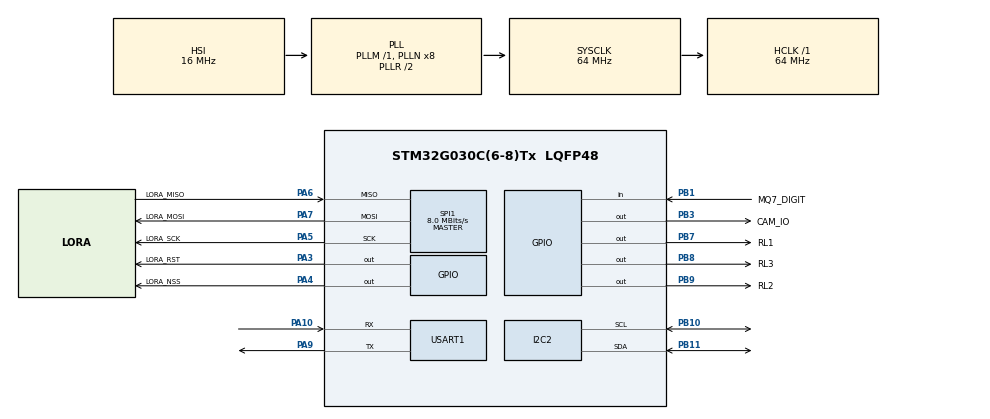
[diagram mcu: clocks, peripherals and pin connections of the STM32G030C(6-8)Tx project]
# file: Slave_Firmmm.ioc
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I2C2.Timing=0x10707DBC
Mcu.Family=STM32G0
Mcu.Name=STM32G030C(6-8)Tx
Mcu.Package=LQFP48
PA10.Mode=Asynchronous
PA10.Signal=USART1_RX
PA13.Mode=Serial_Wire
PA13.Signal=SYS_SWDIO
PA14-BOOT0.Mode=Serial_Wire
PA14-BOOT0.Signal=SYS_SWCLK
PA3.GPIO_Label=LORA_RST
PA3.GPIO_Speed=GPIO_SPEED_FREQ_VERY_HIGH
PA3.PinState=GPIO_PIN_SET
PA3.Signal=GPIO_Output
PA4.GPIO_Label=LORA_NSS
PA4.GPIO_Speed=GPIO_SPEED_FREQ_VERY_HIGH
PA4.PinState=GPIO_PIN_SET
PA4.Signal=GPIO_Output
PA5.GPIO_Label=LORA_SCK
PA5.Mode=Full_Duplex_Master
PA5.Signal=SPI1_SCK
PA6.GPIO_Label=LORA_MISO
PA6.Mode=Full_Duplex_Master
PA6.Signal=SPI1_MISO
PA7.GPIO_Label=LORA_MOSI
PA7.Mode=Full_Duplex_Master
PA7.Signal=SPI1_MOSI
PA9.Mode=Asynchronous
PA9.Signal=USART1_TX
PB1.GPIO_Label=MQ7_DIGIT
PB1.Signal=GPIO_Input
PB10.Mode=I2C
PB10.Signal=I2C2_SCL
PB11.Mode=I2C
PB11.Signal=I2C2_SDA
PB3.GPIO_Label=CAM_IO
PB3.GPIO_PuPd=GPIO_PULLDOWN
PB3.GPIO_Speed=GPIO_SPEED_FREQ_VERY_HIGH
PB3.PinState=GPIO_PIN_RESET
PB3.Signal=GPIO_Output
PB7.GPIO_Label=RL1
PB7.GPIO_Speed=GPIO_SPEED_FREQ_VERY_HIGH
PB7.Signal=GPIO_Output
PB8.GPIO_Label=RL3
PB8.GPIO_Speed=GPIO_SPEED_FREQ_VERY_HIGH
PB8.Signal=GPIO_Output
PB9.GPIO_Label=RL2
PB9.GPIO_Speed=GPIO_SPEED_FREQ_VERY_HIGH
PB9.Signal=GPIO_Output
PF0-OSC_IN\ (PF0).Mode=HSE-External-Oscillator
PF0-OSC_IN\ (PF0).Signal=RCC_OSC_IN
PF1-OSC_OUT\ (PF1).Mode=HSE-External-Oscillator
PF1-OSC_OUT\ (PF1).Signal=RCC_OSC_OUT
ProjectManager.HeapSize=0x200
ProjectManager.StackSize=0x400
ProjectManager.TargetToolchain=MDK-ARM V5
RCC.ADCFreq_Value=64000000
RCC.AHBFreq_Value=64000000
RCC.CortexFreq_Value=64000000
RCC.EXTERNAL_CLOCK_VALUE=12288000
RCC.HCLKFreq_Value=64000000
RCC.HSE_VALUE=8000000
RCC.HSI_VALUE=16000000
RCC.LSE_VALUE=32768
RCC.SYSCLKFreq_VALUE=64000000
RCC.SYSCLKSource=RCC_SYSCLKSOURCE_PLLCLK
RCC.VCOOutputFreq_Value=128000000
SPI1.BaudRatePrescaler=SPI_BAUDRATEPRESCALER_8
SPI1.CalculateBaudRate=8.0 MBits/s
SPI1.Direction=SPI_DIRECTION_2LINES
SPI1.Mode=SPI_MODE_MASTER
SPI1.VirtualType=VM_MASTER
USART1.VirtualMode-Asynchronous=VM_ASYNC
board=custom

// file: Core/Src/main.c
/* USER CODE BEGIN Header */
/**
 ******************************************************************************
 * @file           : main.c
 * @brief          : Main program body
 ******************************************************************************
 * @attention
 *
 * <h2><center>&copy; Copyright (c) 2022 STMicroelectronics.
 * All rights reserved.</center></h2>
 *
 * This software component is licensed by ST under BSD 3-Clause license,
 * the "License"; You may not use this file except in compliance with the
 * License. You may obtain a copy of the License at:
 *                        opensource.org/licenses/BSD-3-Clause
 *
 ******************************************************************************
 */
/* USER CODE END Header */
#include "main.h"
#include "i2c.h"
#include "spi.h"
#include "usart.h"
#include "gpio.h"

/* USER CODE BEGIN Includes */
#include "aht10.h"
#include "lora.h"
#include "ccs811.h"
#include <stdint.h>
#include <string.h>
#include <stdbool.h>
/* USER CODE END Includes */

/* USER CODE BEGIN PD */
#define NODE_ID 1

/* USER CODE END PD */

/* USER CODE BEGIN PV */
lora_pins_t lora_pins;
lora_t lora;
typedef struct
{
	char nodeID[10];
	char type[10];
	char alarm_status[5];
	char temp[10];
	char hum[10];
	char mq7_status[5];
	char eCO2[10];
	char tvoc[10];
} mess_t;
char *node_id[10] = {"node_1", "node_2", "node_3", "node_4"};
/* USER CODE END PV */

void SystemClock_Config(void);

/* USER CODE BEGIN 0 */
void debug(char *data)
{
	HAL_UART_Transmit(&huart1, (uint8_t *)data, (uint16_t)strlen(data), 1000);
}

void switch_relay(GPIO_PinState PinState)
{
	HAL_GPIO_WritePin(GPIOB, RL1_Pin, PinState);
	HAL_GPIO_WritePin(GPIOB, RL2_Pin, PinState);
	HAL_GPIO_WritePin(GPIOB, RL3_Pin, PinState);
}

/* USER CODE END 0 */

int main(void)
{
	/* USER CODE BEGIN 1 */
	char data_send[128] = {0};
	char data_recv[128] = {0};
	char msg[64] = {0};
	uint32_t tick = 0;
	uint32_t tick_2 = 0;
	int count = 0;
	bool alarm_flag = false;
	bool skip_request_off = false;
	mess_t mess;
	char alarm_status_test[5] = {0};
	uint8_t ccs811_ret;
	ccs811_raw_data_t raw_data;
	ccs811_alg_result_data_t alg_results_data;
	/* USER CODE END 1 */

	/* MCU Configuration--------------------------------------------------------*/

	/* Reset of all peripherals, Initializes the Flash interface and the Systick. */
	HAL_Init();

	/* Configure the system clock */
	SystemClock_Config();

	/* Initialize all configured peripherals */
	MX_GPIO_Init();
	MX_I2C2_Init();
	MX_SPI1_Init();
	MX_USART1_UART_Init();
	/* USER CODE BEGIN 2 */
	lora_pins.nss.port = LORA_SS_PORT;
	lora_pins.nss.pin = LORA_SS_PIN;
	lora_pins.reset.port = LORA_RESET_PORT;
	lora_pins.reset.pin = LORA_RESET_PIN;
	lora_pins.spi = &hspi1;
	lora.pin = &lora_pins;
	lora.frequency = FREQ_433MHZ;
	sprintf(msg, "Configuring LoRa module\r\n");
	debug(msg);
	while (lora_init(&lora))
	{
		sprintf(msg, "LoRa Failed\r\n");
		debug(msg);
		HAL_Delay(1000);
	}
	sprintf(msg, "LoRa init done\r\n");
	debug(msg);
	ccs811_init();
	ccs811_get_reg(ERROR_ID_REG);
	ccs811_get_reg(MEAS_MODE_REG);
	// raw_data = ccs811_read_raw();
	// sprintf(msg, "current: %d, voltage: %d\r\n", (uint32_t)raw_data.current, (uint32_t)raw_data.voltage);
	// debug(msg);
	/* USER CODE END 2 */

	/* Infinite loop */
	while (1)
	{

		/* USER CODE BEGIN 3 */
		if (strstr(mess.alarm_status, "on") != NULL)
		{
			HAL_GPIO_WritePin(GPIOB, RL1_Pin, GPIO_PIN_SET);
		}
		else if (strstr(mess.alarm_status, "off") != NULL)
		{
			switch_relay(GPIO_PIN_RESET);
			if(alarm_flag == true)
			{
				alarm_flag = false;
				count = 0;
			}
		}

		if (HAL_GetTick() - tick > 2000 || tick == 0)
		{
			tick = HAL_GetTick();
			aht10_read_data(mess.temp, mess.hum);
			HAL_Delay(100);

			if (ccs811_get_status() & 0x08)
			{
				alg_results_data = ccs811_get_data();
				if (alg_results_data.eCO2 > 8192)
					alg_results_data.eCO2 = 8192;
				if (alg_results_data.tvoc > 1187)
					alg_results_data.tvoc = 1187;
				sprintf(mess.eCO2, "%d", alg_results_data.eCO2);
				sprintf(mess.tvoc, "%d", alg_results_data.tvoc);
				// if (alg_results_data.error == 0x00)
				// {
				// 	sprintf(msg, "eCO2: %d, tvoc: %d, error %02x\r\n", (uint32_t)alg_results_data.eCO2, (uint32_t)alg_results_data.tvoc, alg_results_data.error);
				// 	debug(msg);
				// }
				if (alg_results_data.eCO2 >= 5000 && alg_results_data.tvoc >= 1000)
				{
					if (count < 3)
					{
						if(count == 2)
						{
							skip_request_off = true;
							strcpy(mess.alarm_status, "on");
						}
						count++;
					}
					if (count == 3)
					{
						alarm_flag = true;
					}
				}
				else if(alarm_flag == false)
				{
					count = 0;
				}
			}
		}

		if (alarm_flag == true)
		{
			sprintf(mess.mq7_status, "on");
			switch_relay(GPIO_PIN_SET);
			// HAL_GPIO_WritePin(GPIOB, RL1_Pin, GPIO_PIN_SET);
		}
		else
		{
			sprintf(mess.mq7_status, "off");
			// switch_relay(GPIO_PIN_RESET);
			// HAL_GPIO_WritePin(GPIOB, RL1_Pin, GPIO_PIN_RESET);
		}

		uint8_t ret = lora_prasePacket(&lora);
		if (ret)
		{
			uint8_t i = 0;
			while (lora_available(&lora))
			{
				data_recv[i] = lora_read(&lora);
				i++;
			}
			data_recv[i] = '\0';
			sprintf(msg, "Receive: %s\r\n", data_recv);
			debug(msg);
			if (data_recv[0] == '$')
			{
				(data_recv, "$,%[^,],%[^,],%[^,],*", mess.nodeID, mess.type, alarm_status_test);
				if (strstr(mess.nodeID, node_id[NODE_ID]) != NULL && strstr(mess.type, "request") != NULL)
				{
					if(skip_request_off == true)
					{
						strcpy(mess.alarm_status, "on");
						skip_request_off = false;
					}
					else
					{
						strcpy(mess.alarm_status, alarm_status_test);
					}
					sprintf(msg, "Send request: ");
					debug(msg);
					lora_begin_packet(&lora);
					sprintf(data_send, "$,%s,response,%s,%s,%s,%s,%s,*\r\n", mess.nodeID, mess.temp, mess.hum, mess.mq7_status, mess.eCO2, mess.tvoc);
					lora_tx(&lora, (uint8_t *)data_send, strlen(data_send));
					lora_end_packet(&lora);
					debug(data_send);
				}
			}

		}
		else
			HAL_Delay(10);
	}
	/* USER CODE END 3 */
}

void SystemClock_Config(void)
{
	RCC_OscInitTypeDef RCC_OscInitStruct = {0};
	RCC_ClkInitTypeDef RCC_ClkInitStruct = {0};
	RCC_PeriphCLKInitTypeDef PeriphClkInit = {0};

	/** Configure the main internal regulator output voltage
	 */
	HAL_PWREx_ControlVoltageScaling(PWR_REGULATOR_VOLTAGE_SCALE1);
	/** Initializes the RCC Oscillators according to the specified parameters
	 * in the RCC_OscInitTypeDef structure.
	 */
	RCC_OscInitStruct.OscillatorType = RCC_OSCILLATORTYPE_HSI;
	RCC_OscInitStruct.HSIState = RCC_HSI_ON;
	RCC_OscInitStruct.HSIDiv = RCC_HSI_DIV1;
	RCC_OscInitStruct.HSICalibrationValue = RCC_HSICALIBRATION_DEFAULT;
	RCC_OscInitStruct.PLL.PLLState = RCC_PLL_ON;
	RCC_OscInitStruct.PLL.PLLSource = RCC_PLLSOURCE_HSI;
	RCC_OscInitStruct.PLL.PLLM = RCC_PLLM_DIV1;
	RCC_OscInitStruct.PLL.PLLN = 8;
	RCC_OscInitStruct.PLL.PLLP = RCC_PLLP_DIV2;
	RCC_OscInitStruct.PLL.PLLR = RCC_PLLR_DIV2;
	if (HAL_RCC_OscConfig(&RCC_OscInitStruct) != HAL_OK)
	{
		Error_Handler();
	}
	/** Initializes the CPU, AHB and APB buses clocks
	 */
	RCC_ClkInitStruct.ClockType = RCC_CLOCKTYPE_HCLK | RCC_CLOCKTYPE_SYSCLK | RCC_CLOCKTYPE_PCLK1;
	RCC_ClkInitStruct.SYSCLKSource = RCC_SYSCLKSOURCE_PLLCLK;
	RCC_ClkInitStruct.AHBCLKDivider = RCC_SYSCLK_DIV1;
	RCC_ClkInitStruct.APB1CLKDivider = RCC_HCLK_DIV1;

	if (HAL_RCC_ClockConfig(&RCC_ClkInitStruct, FLASH_LATENCY_2) != HAL_OK)
	{
		Error_Handler();
	}
	/** Initializes the peripherals clocks
	 */
	PeriphClkInit.PeriphClockSelection = RCC_PERIPHCLK_USART1;
	PeriphClkInit.Usart1ClockSelection = RCC_USART1CLKSOURCE_PCLK1;
	if (HAL_RCCEx_PeriphCLKConfig(&PeriphClkInit) != HAL_OK)
	{
		Error_Handler();
	}
}

void Error_Handler(void)
{
	__disable_irq();
	while (1)
	{
	}
}

/************************ (C) COPYRIGHT STMicroelectronics *****END OF FILE****/
